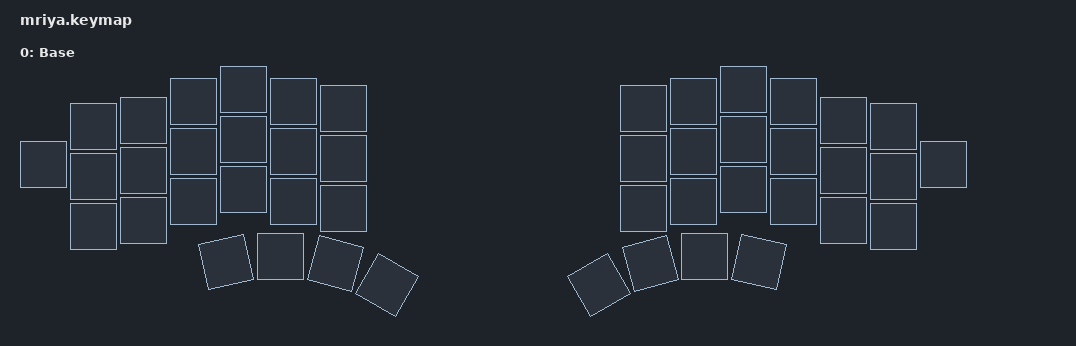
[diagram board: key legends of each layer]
/*
 * Copyright (c) 2023 Andrei Gaevskii
 *
 * SPDX-License-Identifier: MIT
 */

#include <behaviors.dtsi>
#include <dt-bindings/zmk/keys.h>
#include <dt-bindings/zmk/bt.h>

/ {
    keymap {
        compatible = "zmk,keymap";

        default_layer {
            display-name = "Base";
            bindings = <
     &none  &none         &none         &none         &none         &none         &none           &none         &none         &none         &none         &none        &none  &none
            &none         &none         &none         &none         &none         &none           &none         &none         &none         &none         &none        &none
            &none         &none         &none         &none         &none         &none           &none         &none         &none         &none         &none        &none
                                        &none         &none         &none         &none           &none         &none         &none         &none
            >;
        };
    };
};
